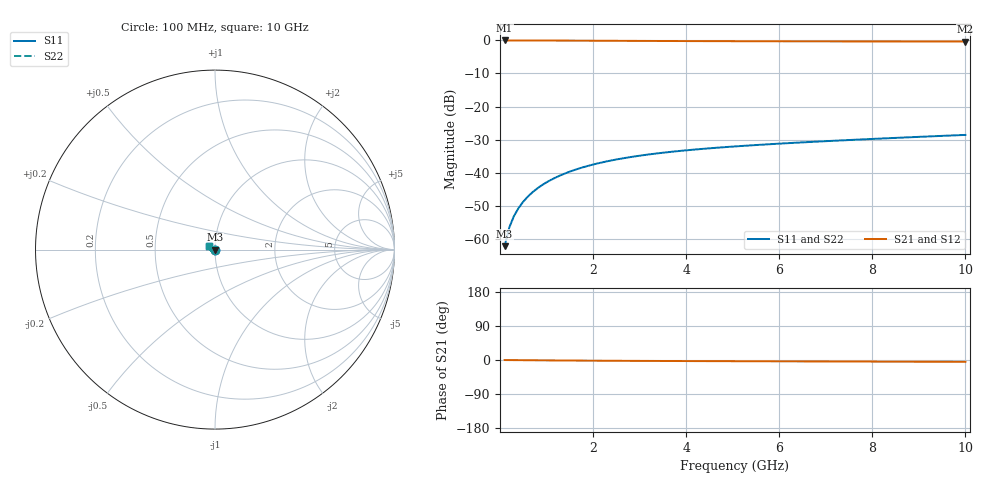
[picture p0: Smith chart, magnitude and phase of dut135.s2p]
! Touchstone file exported from HFSS 2024.1.0
!  File:  C:/UserFiles/LocalFiles/RDL_TSV_Batchsim/temp_TSV1_135_1779379903.aedt
!  Generated:  12:16:50 AM May 22, 2026
!  Design:  TSV1
!  Project:  temp_TSV1_135_1779379903
!  Setup:  Setup1
!  Solution:  Sweep
! Variables:
!  dtsv = 7.29um
!  hbump = 3um
!  htsv = 71.78um
!  lrdl = 252.1521522um
!  p = 40
!  p1 = 52.78um
!  t = 500um
!  trdl = 3um
!  wrdl = 24.89489489um
# GHz S MA R 50.000000
! Terminal data exported
! Port[1] = TSV22_T1
! Port[2] = TSV22_T2
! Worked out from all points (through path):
!   100 points, 100 MHz to 10 GHz, reference 50 ohm
!   highest |S21| = 0.00 dB at 100 MHz (marker M1); lowest = -0.3 dB at 10 GHz (marker M2)
!   lowest |S11| = -62.2 dB at 100 MHz (marker M3), VSWR 1.00, Z = 50 - j0.0739 ohm
!   |S11| at or under -10 dB: start of sweep to end of sweep
!   |S22| runs from -62.2 to -28.6 dB; largest |S21 - S12| = 2e-15
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0.1  0.0007723 -73.0  0.9997 -0.1  0.9997 -0.1  0.0007723 -73.0
! Gamma 0 0 0 0
! Port Impedance 50 0 50 0
0.2  0.00148 -84.5  0.9996 -0.2  0.9996 -0.2  0.00148 -84.5
0.3  0.002199 -90.0  0.9995 -0.3  0.9995 -0.3  0.002199 -90.0
0.4  0.002919 -93.8  0.9993 -0.4  0.9993 -0.4  0.002919 -93.8
0.5  0.003637 -97.0  0.999 -0.5  0.999 -0.5  0.003637 -97.0
0.6  0.00435 -99.8  0.9987 -0.6  0.9987 -0.6  0.00435 -99.8
0.7  0.005057 -102.4  0.9983 -0.7  0.9983 -0.7  0.005057 -102.4
0.8  0.005756 -104.8  0.9979 -0.8  0.9979 -0.8  0.005756 -104.8
0.9  0.006447 -107.2  0.9975 -0.9  0.9975 -0.9  0.006447 -107.2
1.1  0.0078 -111.6  0.9965 -1.1  0.9965 -1.1  0.0078 -111.6
1.4  0.009741 -117.9  0.9948 -1.3  0.9948 -1.3  0.009741 -117.9
1.6  0.01097 -121.9  0.9935 -1.5  0.9935 -1.5  0.01097 -121.9
1.8  0.01214 -125.8  0.9922 -1.6  0.9922 -1.6  0.01214 -125.8
2.1  0.0138 -131.3  0.9902 -1.8  0.9902 -1.8  0.0138 -131.3
2.5  0.01581 -138.1  0.9875 -2.1  0.9875 -2.1  0.01581 -138.1
2.9  0.01762 -144.5  0.9848 -2.3  0.9848 -2.3  0.01762 -144.5
3.4  0.01963 -151.8  0.9818 -2.5  0.9818 -2.5  0.01963 -151.8
4.2  0.02241 -162.2  0.9775 -2.9  0.9775 -2.9  0.02241 -162.2
5.1  0.02507 -172.2  0.9737 -3.2  0.9737 -3.2  0.02507 -172.2
6.7  0.02921 173.4  0.9689 -3.7  0.9689 -3.7  0.02921 173.4
8.4  0.03332 161.4  0.9655 -4.3  0.9655 -4.3  0.03332 161.4
10  0.03724 152.3  0.9632 -4.9  0.9632 -4.9  0.03724 152.3
